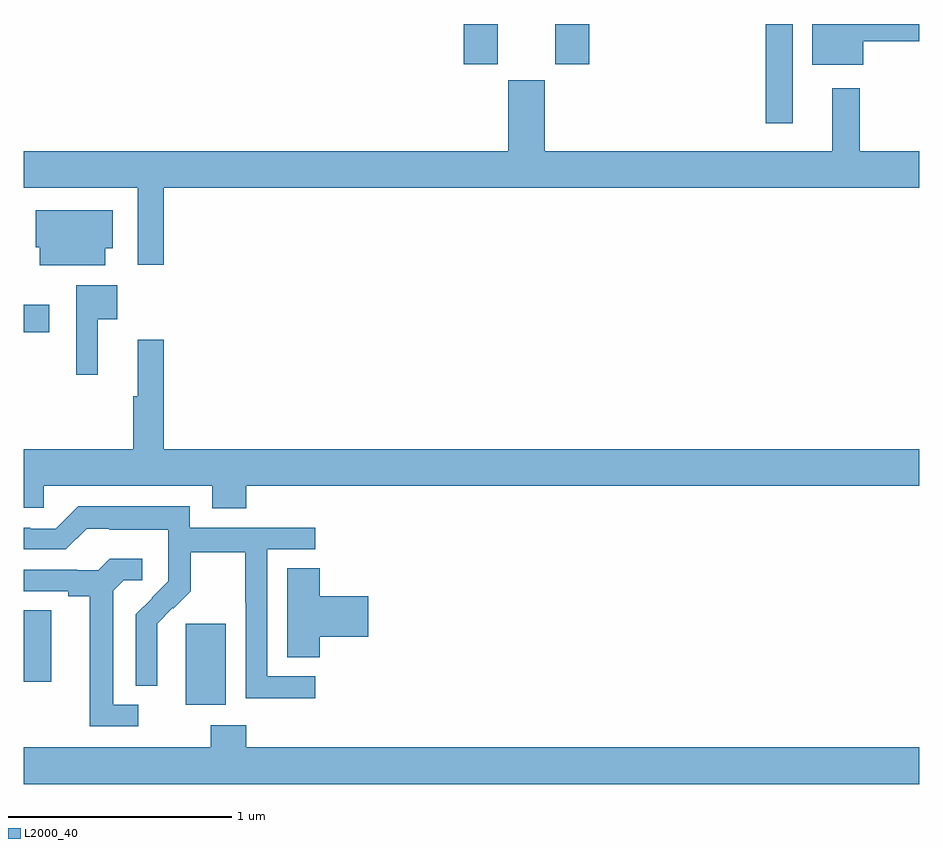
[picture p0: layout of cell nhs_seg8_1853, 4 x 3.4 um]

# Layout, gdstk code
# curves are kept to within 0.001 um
import gdstk
lib = gdstk.Library(unit=1e-6, precision=1e-09)
def R(c, l, rs):  # rectangles x0, y0, x1, y1
    for r in rs: c.add(gdstk.rectangle(r[:2], r[2:], *l))
def P(c, l, *ps):  # polygons
    for p in ps: c.add(gdstk.Polygon(p, *l))
L2000_40 = (2000, 40)

nhs_seg8_1853 = lib.new_cell('nhs_seg8_1853')
R(nhs_seg8_1853, L2000_40, [(229.724,1112.858,229.903,1113.219), (229,1112.961,229.123,1113.281), (229,1114.523,229.114,1114.645), (232.314,1115.457,232.435,1115.9), (230.966,1115.721,231.118,1115.9), (231.374,1115.721,231.527,1115.9)])
P(nhs_seg8_1853, L2000_40, [(232.75,1115.824),(233,1115.824),(233,1115.9),(232.523,1115.9),(232.523,1115.717),(232.75,1115.717)],
  [(229.625,1115.168),(233,1115.168),(233,1115.332),(232.735,1115.332),(232.735,1115.614),(232.613,1115.614),(232.613,1115.332),(231.328,1115.332),(231.328,1115.649),(231.164,1115.649),(231.164,1115.332),(229,1115.332),(229,1115.168),(229.509,1115.168),(229.509,1114.824),(229.625,1114.824)],
  [(229.363,1114.898),(229.396,1114.898),(229.396,1115.068),(229.052,1115.068),(229.052,1114.902),(229.07,1114.902),(229.07,1114.823),(229.363,1114.823)],
  [(229.331,1114.58),(229.417,1114.58),(229.417,1114.732),(229.233,1114.732),(229.233,1114.332),(229.331,1114.332)],
  [(229.994,1113.836),(233,1113.836),(233,1114),(229.625,1114),(229.625,1114.489),(229.508,1114.489),(229.508,1114.236),(229.489,1114.236),(229.489,1114),(229,1114),(229,1113.738),(229.089,1113.738),(229.089,1113.836),(229.841,1113.836),(229.841,1113.737),(229.994,1113.737)],
  [(230.302,1112.985),(230.088,1112.985),(230.088,1113.552),(230.302,1113.552),(230.302,1113.648),(229.74,1113.648),(229.74,1113.745),(229.243,1113.745),(229.143,1113.645),(229.028,1113.645),(229.028,1113.648),(229,1113.648),(229,1113.552),(229.188,1113.552),(229.281,1113.645),(229.381,1113.645),(229.381,1113.641),(229.644,1113.641),(229.644,1113.507),(229.646,1113.507),(229.646,1113.41),(229.5,1113.262),(229.5,1112.944),(229.596,1112.944),(229.595,1113.221),(229.665,1113.291),(229.668,1113.288),(229.745,1113.365),(229.745,1113.54),(229.99,1113.54),(229.99,1113.316),(229.992,1113.316),(229.992,1112.887),(230.302,1112.887)],
  [(229.51,1112.859),(229.399,1112.859),(229.399,1113.367),(229.446,1113.414),(229.528,1113.414),(229.528,1113.511),(229.384,1113.511),(229.332,1113.459),(229.238,1113.459),(229.238,1113.462),(229,1113.462),(229,1113.366),(229.199,1113.366),(229.199,1113.344),(229.295,1113.344),(229.295,1112.763),(229.51,1112.763)],
  [(230.321,1113.161),(230.539,1113.161),(230.539,1113.344),(230.321,1113.344),(230.321,1113.467),(230.177,1113.467),(230.177,1113.07),(230.321,1113.07)],
  [(233,1112.668),(229.994,1112.668),(229.994,1112.767),(229.834,1112.767),(229.834,1112.668),(229,1112.668),(229,1112.504),(233,1112.504)])

lib.write_gds('nhs_seg8_1853.gds')
